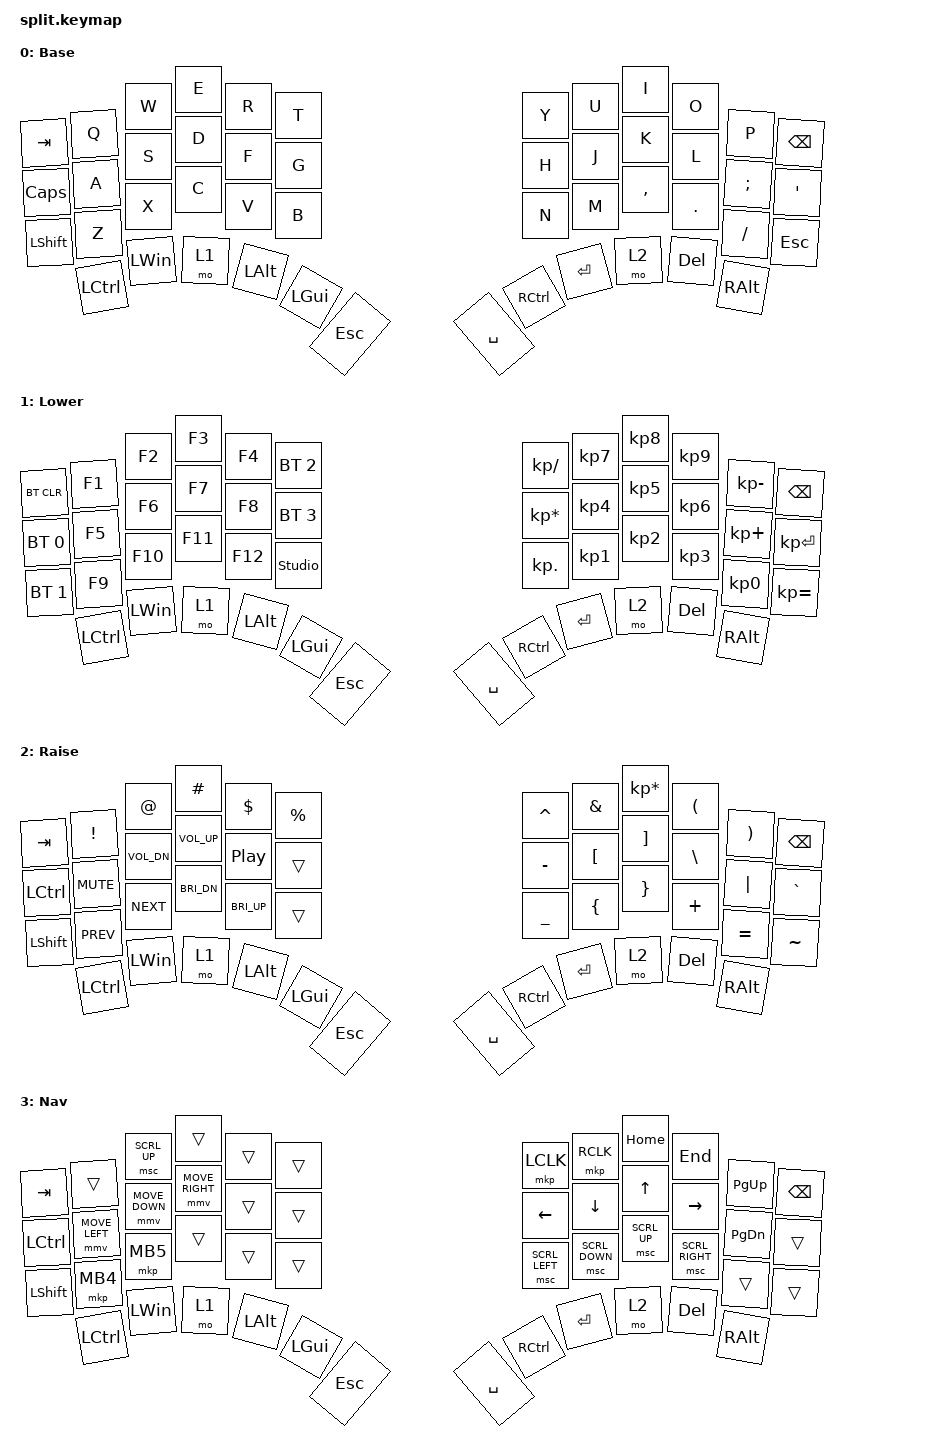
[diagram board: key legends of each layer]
// This file was generated from a template. Edit it to match your keyboard.
// See https://zmk.dev/docs/development/hardware-integration/new-shield for more instructions.

#include <behaviors.dtsi>
#include <dt-bindings/zmk/keys.h>
#include <dt-bindings/zmk/bt.h>
#include <dt-bindings/zmk/outputs.h>
#include <dt-bindings/zmk/mouse.h>

/ { 
    // Define conditional layers: Lower (1) + Raise (2) = Nav (3)
    conditional_layers {
        compatible = "zmk,conditional-layers";
        tri_layer {
            if-layers = <1 2>;
            then-layer = <3>;
        };
    };

    keymap {
        compatible = "zmk,keymap";

        default_layer {
            display-name = "Base";
// -----------------------------------------------------------------------------------------
// |  TAB  |  Q  |  W  |  E  |  R  |  T  |   |  Y  |  U  |  I  |  O  |  P  | BKSP |
// | CLCK  |  A  |  S  |  D  |  F  |  G  |   |  H  |  J  |  K  |  L  |  ;  |  '   |
// | SHFT  |  Z  |  X  |  C  |  V  |  B  |   |  N  |  M  |  ,  |  .  |  /  | ESC  |
// | LCTRL | LWIN| LWR | LALT| GUI | ESC |   |SPACE| RCTL| RET | RSE | DEL | RALT |
            bindings = <
    &kp TAB   &kp Q    &kp W    &kp E    &kp R    &kp T       &kp Y     &kp U     &kp I     &kp O     &kp P    &kp BSPC
    &kp CLCK  &kp A    &kp S    &kp D    &kp F    &kp G       &kp H     &kp J     &kp K     &kp L     &kp SEMI &kp SQT
    &kp LSHFT &kp Z    &kp X    &kp C    &kp V    &kp B       &kp N     &kp M     &kp COMMA &kp DOT   &kp FSLH &kp ESC
    &kp LCTRL &kp LWIN &mo 1    &kp LALT &kp LGUI &kp ESC     &kp SPACE &kp RCTRL &kp RET   &mo 2     &kp DEL  &kp RALT
            >;
        };

        lower_layer {
            display-name = "Lower";
// -----------------------------------------------------------------------------------------
// | BTCLR | F1  | F2  | F3  | F4  | BT2 |   |  /  |  7  |  8  |  9  |  -  | BKSP |
// |  BT0  | F5  | F6  | F7  | F8  | BT3 |   |  *  |  4  |  5  |  6  |  +  | ENT  |
// |  BT1  | F9  | F10 | F11 | F12 | UNLK|   |  .  |  1  |  2  |  3  |  =  | SHFT |
// | LCTRL | LWIN| LWR | LALT| GUI | ESC |   |  0  | RCTL| RET | RSE | DEL | RALT |
            bindings = <
    &bt BT_CLR   &kp F1       &kp F2       &kp F3       &kp F4       &bt BT_SEL 2    &kp KP_DIVIDE   &kp KP_N7  &kp KP_N8  &kp KP_N9  &kp KP_SUBTRACT &kp BSPC
    &bt BT_SEL 0 &kp F5       &kp F6       &kp F7       &kp F8       &bt BT_SEL 3    &kp KP_MULTIPLY &kp KP_N4  &kp KP_N5  &kp KP_N6  &kp KP_PLUS     &kp KP_ENTER
    &bt BT_SEL 1 &kp F9       &kp F10      &kp F11      &kp F12      &studio_unlock  &kp KP_DOT      &kp KP_N1  &kp KP_N2  &kp KP_N3  &kp KP_N0       &kp KP_EQUAL 
    &kp LCTRL    &kp LWIN     &mo 1        &kp LALT     &kp LGUI     &kp ESC         &kp SPACE       &kp RCTRL  &kp RET    &mo 2      &kp DEL         &kp RALT
            >;
        };

        raise_layer {
            display-name = "Raise";
// -----------------------------------------------------------------------------------------
// |  TAB  |  !  |  @  |  #  |  $  |  %  |   |  ^  |  &  |  *  |  (  |  )  | BKSP |
// | LCTRL | MUTE| VOL-| VOL+| PLAY|     |   |  -  |  [  |  ]  |  |  |  \  |  `   |
// | SHFT  | PREV| NEXT| BRID| BRIU|     |   |  _  |  {  |  }  |  +  |  =  |  ~   |
// | LCTRL | LWIN| LWR | LALT| GUI | ESC |   |SPACE| RCTL| RET | RSE | DEL | RALT |
            bindings = <
    &kp TAB   &kp EXCL     &kp AT       &kp HASH     &kp DLLR     &kp PRCNT    &kp CARET &kp AMPS  &kp KP_MULTIPLY &kp LPAR &kp RPAR &kp BSPC
    &kp LCTRL &kp C_MUTE   &kp C_VOL_DN &kp C_VOL_UP &kp C_PP     &trans       &kp MINUS &kp LBKT  &kp RBKT        &kp BSLH &kp PIPE &kp GRAVE
    &kp LSHFT &kp C_PREV   &kp C_NEXT   &kp C_BRI_DN &kp C_BRI_UP &trans       &kp UNDER &kp LBRC  &kp RBRC        &kp PLUS &kp EQUAL &kp TILDE
    &kp LCTRL &kp LWIN     &mo 1        &kp LALT     &kp LGUI     &kp ESC      &kp SPACE &kp RCTRL &kp RET         &mo 2    &kp DEL  &kp RALT
            >;
        };

        navigation_layer {
            display-name = "Nav";
// -----------------------------------------------------------------------------------------
// |  TAB  |     | MSCU|     |     |     |   | LCLK| RCLK| HOME| END | PGUP| BKSP |
// | LCTRL | MSL | MSDN| MSR |     |     |   | LEFT| DOWN| UP  |RIGHT| PGDN|      |
// | SHFT  | MS_L| MS_R|     |     |     |   | S_L | S_DN| S_UP| S_R |     |      |
// | LCTRL | LWIN| LWR | LALT| GUI | ESC |   |SPACE| RCTL| RET | RSE | DEL | RALT |
            bindings = <
    &kp TAB   &trans         &msc SCRL_UP   &trans          &trans    &trans    &mkp LCLK       &mkp RCLK        &kp HOME      &kp END         &kp PG_UP &kp BSPC
    &kp LCTRL &mmv MOVE_LEFT &mmv MOVE_DOWN &mmv MOVE_RIGHT &trans    &trans    &kp LEFT        &kp DOWN        &kp UP        &kp RIGHT       &kp PG_DN &trans
    &kp LSHFT &mkp MB4       &mkp MB5       &trans          &trans    &trans    &msc SCRL_LEFT  &msc SCRL_DOWN  &msc SCRL_UP  &msc SCRL_RIGHT &trans    &trans
    &kp LCTRL &kp LWIN       &mo 1          &kp LALT        &kp LGUI  &kp ESC   &kp SPACE       &kp RCTRL       &kp RET       &mo 2           &kp DEL   &kp RALT
            >;
        };
    };
};
